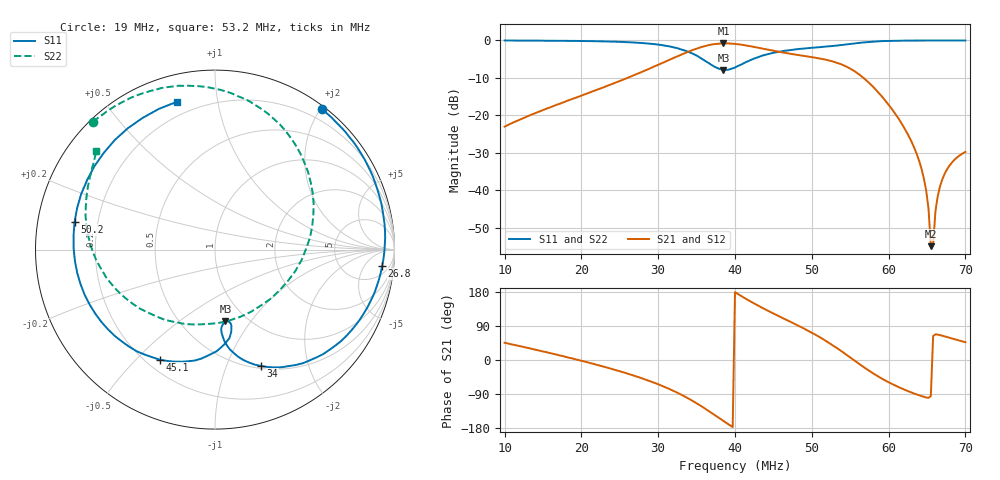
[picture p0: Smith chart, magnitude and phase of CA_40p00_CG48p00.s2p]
#  HZ  S  RI  R  50.00
! Rohde & Schwarz ZVT8 8Ports - Version 4.11 - 1300.0000k08 SN: 100242
! Date: 2026-07-31 14:54:17
! Measurements: S11 S21 S12 S22
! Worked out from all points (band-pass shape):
!   201 points, 10 MHz to 70 MHz, reference 50 ohm
!   highest |S21| = -0.81 dB at 38.5 MHz (marker M1); lowest = -54.9 dB at 65.5 MHz (marker M2)
!   |S21| within 3 dB of the highest: 32.99 MHz to 47.92 MHz (14.93 MHz wide, 36.9 % of centre)
!   lowest |S11| = -7.9 dB at 38.5 MHz (marker M3), VSWR 2.36, Z = 40 - j38.2 ohm
!   |S11| at or under -10 dB: nowhere
!   |S22| runs from -8.0 to 0.0 dB; largest |S21 - S12| = 0.0035
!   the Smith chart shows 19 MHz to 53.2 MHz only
!   S11 on the Smith chart (normalised r, x): 19 MHz: 0.04, +2.01; 26.8 MHz: 10, -14; 34 MHz: 0.53, -1.33; 45.1 MHz: 0.25, -0.59; 50.2 MHz: 0.11, +0.10; 53.2 MHz: 0.13, +0.77
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1e7  -0.4098 0.9083  0.0496 0.0506  0.0493 0.0508  -0.9196 0.3835
1.9e7  0.5934 0.7834  0.1679 0.00945  0.1676 0.00888  -0.6785 0.7094
2.02e7  0.7002 0.6839  0.1867 -0.00988  0.1859 -0.00973  -0.63 0.7489
2.68e7  0.9314 -0.0903  0.2585 -0.2235  0.2582 -0.224  -0.2273 0.9097
3.01e7  0.7324 -0.4807  0.2027 -0.4318  0.2036 -0.4314  0.0926 0.8708
3.4e7  0.2569 -0.6487  -0.1514 -0.6944  -0.1513 -0.6951  0.4982 0.4845
3.61e7  0.0657 -0.532  -0.52 -0.6596  -0.5184 -0.6593  0.5293 0.0668
3.85e7  0.0582 -0.3998  -0.861 -0.2986  -0.8604 -0.2963  0.2011 -0.3464
4e7  0.0914 -0.4244  -0.8967 0.0147  -0.8957 0.0152  -0.1057 -0.4175
4.51e7  -0.308 -0.6135  -0.3803 0.6147  -0.3806 0.6142  -0.6845 -0.00103
5.02e7  -0.7827 0.1541  0.2046 0.556  0.2048 0.5562  -0.6995 0.39
5.32e7  -0.2115 0.8238  0.426 0.2715  0.4259 0.2712  -0.6622 0.5469
5.5e7  0.4678 0.7624  0.4175 0.0494  0.4173 0.0494  -0.6332 0.6439
5.68e7  0.9158 0.2063  0.2938 -0.1031  0.2932 -0.1027  -0.5815 0.7459
6.01e7  0.5473 -0.8166  0.0678 -0.1161  0.0672 -0.1159  -0.4283 0.8894
6.43e7  -0.4332 -0.8958  -0.0018 -0.0192  -0.00187 -0.019  -0.2128 0.9738
6.52e7  -0.5848 -0.8057  -0.000966 -0.00561  -0.000974 -0.00562  -0.1694 0.9831
6.55e7  -0.629 -0.7706  -0.000163 -0.0018  -0.000153 -0.00181  -0.1543 0.9839
6.58e7  -0.6722 -0.7342  0.000854 0.00169  0.000806 0.00168  -0.1401 0.9876
6.61e7  -0.7118 -0.6945  0.002 0.00488  0.00202 0.00484  -0.1243 0.9888
6.7e7  -0.8134 -0.5729  0.00616 0.0127  0.00616 0.0126  -0.0828 0.9927
7e7  -0.9874 -0.1261  0.0223 0.0238  0.0222 0.0237  0.0547 0.9952
